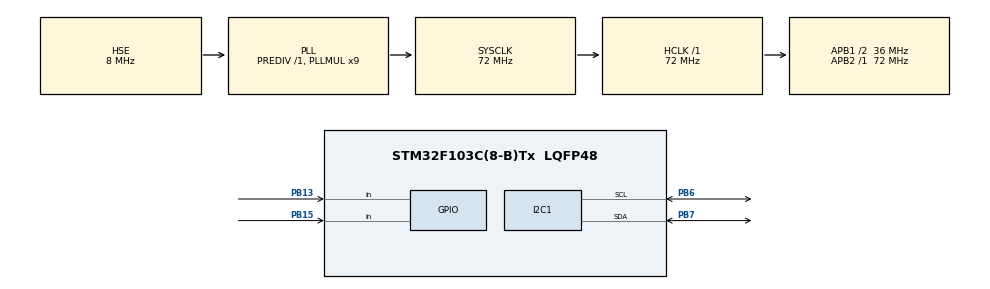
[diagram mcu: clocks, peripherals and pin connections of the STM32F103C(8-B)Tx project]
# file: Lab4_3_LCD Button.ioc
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Mcu.Family=STM32F1
Mcu.Name=STM32F103C(8-B)Tx
Mcu.Package=LQFP48
NVIC.PriorityGroup=NVIC_PRIORITYGROUP_4
PA13.Mode=Serial_Wire
PA13.Signal=SYS_JTMS-SWDIO
PA14.Mode=Serial_Wire
PA14.Signal=SYS_JTCK-SWCLK
PB13.GPIO_PuPd=GPIO_PULLDOWN
PB13.Signal=GPIO_Input
PB15.GPIO_PuPd=GPIO_PULLDOWN
PB15.Signal=GPIO_Input
PB6.Mode=I2C
PB6.Signal=I2C1_SCL
PB7.Mode=I2C
PB7.Signal=I2C1_SDA
PD0-OSC_IN.Mode=HSE-External-Oscillator
PD0-OSC_IN.Signal=RCC_OSC_IN
PD1-OSC_OUT.Mode=HSE-External-Oscillator
PD1-OSC_OUT.Signal=RCC_OSC_OUT
ProjectManager.HeapSize=0x200
ProjectManager.StackSize=0x400
ProjectManager.TargetToolchain=STM32CubeIDE
RCC.AHBFreq_Value=72000000
RCC.APB1CLKDivider=RCC_HCLK_DIV2
RCC.APB1Freq_Value=36000000
RCC.APB1TimFreq_Value=72000000
RCC.APB2Freq_Value=72000000
RCC.APB2TimFreq_Value=72000000
RCC.HCLKFreq_Value=72000000
RCC.PLLMUL=RCC_PLL_MUL9
RCC.PLLSourceVirtual=RCC_PLLSOURCE_HSE
RCC.SYSCLKFreq_VALUE=72000000
RCC.SYSCLKSource=RCC_SYSCLKSOURCE_PLLCLK
RCC.USBFreq_Value=72000000
board=custom

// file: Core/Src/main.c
/* USER CODE BEGIN Header */
/**
  ******************************************************************************
  * @file           : main.c
  * @brief          : Main program body
  ******************************************************************************
  * @attention
  *
  * Copyright (c) 2026 STMicroelectronics.
  * All rights reserved.
  *
  * This software is licensed under terms that can be found in the LICENSE file
  * in the root directory of this software component.
  * If no LICENSE file comes with this software, it is provided AS-IS.
  *
  ******************************************************************************
  */
/* USER CODE END Header */
#include "main.h"

/* USER CODE BEGIN Includes */
#include "i2c-lcd.h"
#include <stdio.h>

/* USER CODE END Includes */

I2C_HandleTypeDef hi2c1;

/* USER CODE BEGIN PV */
uint8_t prev_b13_state = 0;
uint8_t prev_b15_state = 0;

/* USER CODE END PV */

void SystemClock_Config(void);
static void MX_GPIO_Init(void);
static void MX_I2C1_Init(void);

int main(void)
{

  /* USER CODE BEGIN 1 */
	int8_t position = 0;
	char lcd_buffer[20];
	uint8_t update_lcd = 1;

  /* USER CODE END 1 */

  /* MCU Configuration--------------------------------------------------------*/

  /* Reset of all peripherals, Initializes the Flash interface and the Systick. */
  HAL_Init();

  /* Configure the system clock */
  SystemClock_Config();

  /* Initialize all configured peripherals */
  MX_GPIO_Init();
  MX_I2C1_Init();
  /* USER CODE BEGIN 2 */
  lcd_init();

  /* USER CODE END 2 */

  /* Infinite loop */
  while (1)
  {
	  uint8_t curr_b13 = (HAL_GPIO_ReadPin(GPIOB, GPIO_PIN_13) == GPIO_PIN_SET);
	  uint8_t curr_b15 = (HAL_GPIO_ReadPin(GPIOB, GPIO_PIN_15) == GPIO_PIN_SET);

    /* USER CODE BEGIN 3 */
	  if (curr_b13 == 1 && prev_b13_state == 0){
		  if (position < 15) {
			  position++;
			  update_lcd = 1;
		  }
	  }
	  prev_b13_state = curr_b13;

	  if (curr_b15 == 1 && prev_b15_state == 0) {
		  if (position > 0) {
			  position--;
			  update_lcd = 1;
		  }
	  }
	  prev_b15_state = curr_b15;

	  if (update_lcd == 1) {
		  lcd_clear();
		  lcd_put_cur(0, position);
		  lcd_send_string("#");

		  snprintf(lcd_buffer, sizeof(lcd_buffer), "Position : %d", position);
		  lcd_put_cur(1, 0);
		  lcd_send_string(lcd_buffer);

		  update_lcd = 0;
	  }

	  HAL_Delay(30);
  }
  /* USER CODE END 3 */
}

void SystemClock_Config(void)
{
  RCC_OscInitTypeDef RCC_OscInitStruct = {0};
  RCC_ClkInitTypeDef RCC_ClkInitStruct = {0};

  /** Initializes the RCC Oscillators according to the specified parameters
  * in the RCC_OscInitTypeDef structure.
  */
  RCC_OscInitStruct.OscillatorType = RCC_OSCILLATORTYPE_HSE;
  RCC_OscInitStruct.HSEState = RCC_HSE_ON;
  RCC_OscInitStruct.HSEPredivValue = RCC_HSE_PREDIV_DIV1;
  RCC_OscInitStruct.HSIState = RCC_HSI_ON;
  RCC_OscInitStruct.PLL.PLLState = RCC_PLL_ON;
  RCC_OscInitStruct.PLL.PLLSource = RCC_PLLSOURCE_HSE;
  RCC_OscInitStruct.PLL.PLLMUL = RCC_PLL_MUL9;
  if (HAL_RCC_OscConfig(&RCC_OscInitStruct) != HAL_OK)
  {
    Error_Handler();
  }

  /** Initializes the CPU, AHB and APB buses clocks
  */
  RCC_ClkInitStruct.ClockType = RCC_CLOCKTYPE_HCLK|RCC_CLOCKTYPE_SYSCLK
                              |RCC_CLOCKTYPE_PCLK1|RCC_CLOCKTYPE_PCLK2;
  RCC_ClkInitStruct.SYSCLKSource = RCC_SYSCLKSOURCE_PLLCLK;
  RCC_ClkInitStruct.AHBCLKDivider = RCC_SYSCLK_DIV1;
  RCC_ClkInitStruct.APB1CLKDivider = RCC_HCLK_DIV2;
  RCC_ClkInitStruct.APB2CLKDivider = RCC_HCLK_DIV1;

  if (HAL_RCC_ClockConfig(&RCC_ClkInitStruct, FLASH_LATENCY_2) != HAL_OK)
  {
    Error_Handler();
  }
}

static void MX_I2C1_Init(void)
{

  hi2c1.Instance = I2C1;
  hi2c1.Init.ClockSpeed = 100000;
  hi2c1.Init.DutyCycle = I2C_DUTYCYCLE_2;
  hi2c1.Init.OwnAddress1 = 0;
  hi2c1.Init.AddressingMode = I2C_ADDRESSINGMODE_7BIT;
  hi2c1.Init.DualAddressMode = I2C_DUALADDRESS_DISABLE;
  hi2c1.Init.OwnAddress2 = 0;
  hi2c1.Init.GeneralCallMode = I2C_GENERALCALL_DISABLE;
  hi2c1.Init.NoStretchMode = I2C_NOSTRETCH_DISABLE;
  if (HAL_I2C_Init(&hi2c1) != HAL_OK)
  {
    Error_Handler();
  }

}

static void MX_GPIO_Init(void)
{
  GPIO_InitTypeDef GPIO_InitStruct = {0};

  /* GPIO Ports Clock Enable */
  __HAL_RCC_GPIOD_CLK_ENABLE();
  __HAL_RCC_GPIOB_CLK_ENABLE();
  __HAL_RCC_GPIOA_CLK_ENABLE();

  /*Configure GPIO pins : PB13 PB15 */
  GPIO_InitStruct.Pin = GPIO_PIN_13|GPIO_PIN_15;
  GPIO_InitStruct.Mode = GPIO_MODE_INPUT;
  GPIO_InitStruct.Pull = GPIO_PULLDOWN;
  HAL_GPIO_Init(GPIOB, &GPIO_InitStruct);

}

void Error_Handler(void)
{
  __disable_irq();
  while (1)
  {
  }
}
